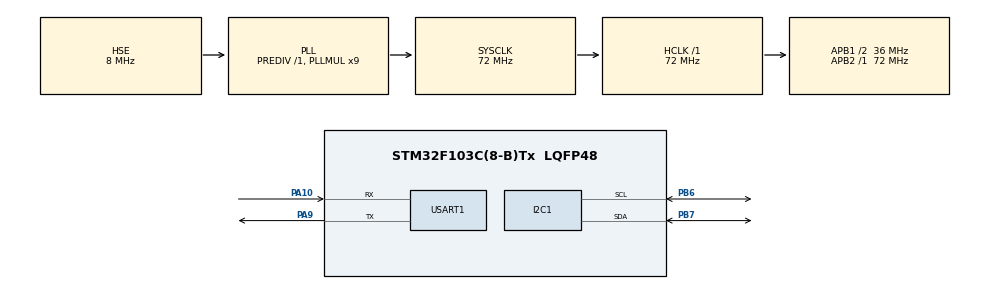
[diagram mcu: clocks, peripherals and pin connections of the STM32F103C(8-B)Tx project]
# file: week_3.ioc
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Mcu.Family=STM32F1
Mcu.Name=STM32F103C(8-B)Tx
Mcu.Package=LQFP48
NVIC.PriorityGroup=NVIC_PRIORITYGROUP_4
NVIC.USART1_IRQn=true\:0\:0\:false\:false\:true\:true\:true\:true
PA10.Mode=Asynchronous
PA10.Signal=USART1_RX
PA13.Mode=Serial_Wire
PA13.Signal=SYS_JTMS-SWDIO
PA14.Mode=Serial_Wire
PA14.Signal=SYS_JTCK-SWCLK
PA9.Mode=Asynchronous
PA9.Signal=USART1_TX
PB6.Mode=I2C
PB6.Signal=I2C1_SCL
PB7.Mode=I2C
PB7.Signal=I2C1_SDA
PD0-OSC_IN.Mode=HSE-External-Oscillator
PD0-OSC_IN.Signal=RCC_OSC_IN
PD1-OSC_OUT.Mode=HSE-External-Oscillator
PD1-OSC_OUT.Signal=RCC_OSC_OUT
ProjectManager.HeapSize=0x200
ProjectManager.StackSize=0x400
ProjectManager.TargetToolchain=Makefile
RCC.AHBFreq_Value=72000000
RCC.APB1CLKDivider=RCC_HCLK_DIV2
RCC.APB1Freq_Value=36000000
RCC.APB1TimFreq_Value=72000000
RCC.APB2Freq_Value=72000000
RCC.APB2TimFreq_Value=72000000
RCC.HCLKFreq_Value=72000000
RCC.PLLMUL=RCC_PLL_MUL9
RCC.PLLSourceVirtual=RCC_PLLSOURCE_HSE
RCC.SYSCLKFreq_VALUE=72000000
RCC.SYSCLKSource=RCC_SYSCLKSOURCE_PLLCLK
RCC.USBFreq_Value=72000000
USART1.VirtualMode=VM_ASYNC
board=custom

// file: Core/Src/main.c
/* USER CODE BEGIN Header */
/**
  ******************************************************************************
  * @file           : main.c
  * @brief          : Main program body
  ******************************************************************************
  * @attention
  *
  * Copyright (c) 2026 STMicroelectronics.
  * All rights reserved.
  *
  * This software is licensed under terms that can be found in the LICENSE file
  * in the root directory of this software component.
  * If no LICENSE file comes with this software, it is provided AS-IS.
  *
  ******************************************************************************
  */
/* USER CODE END Header */
#include "main.h"
#include "i2c.h"
#include "usart.h"
#include "gpio.h"

/* USER CODE BEGIN Includes */
#include "OLED.h"
#include <math.h>
/* USER CODE END Includes */

/* USER CODE BEGIN PV */
typedef enum{
  WAVE_SIN,
  WAVE_SAWTOOTH,
  WAVE_SQUARE
}Wave_Type;
static Wave_Type current_wave=WAVE_SIN;
static volatile uint8_t mod;
static volatile uint8_t pre_command=0;
static uint32_t last_time=0;
static float wave_dot=0.0f;
/* USER CODE END PV */

void SystemClock_Config(void);

/* USER CODE BEGIN 0 */
static float Wave_GetPeriod(void)
{
    switch (current_wave)
    {
        case WAVE_SIN:
            return 1.0f;

        case WAVE_SAWTOOTH:
            return 0.5f;

        case WAVE_SQUARE:
            return 1.5f;

        default:
            return 1.0f;
    }
}
static float Wave_GetValue(void)
{
    switch (current_wave)
    {
        case WAVE_SIN:
            return 2.0f * sinf(6.2831853f * wave_dot);
        case WAVE_SAWTOOTH:
            return -1.0f + 2.0f * wave_dot;
        case WAVE_SQUARE:
            if (wave_dot < 0.5f)
            {
                return 0.5f;
            }
            else
            {
                return -0.5f;
            }

        default:
            return 0.0f;
    }
}

static void OLED_ShowWaveName(void)
{
    OLED_operate_gram(PEN_CLEAR);

    switch (current_wave)
    {
        case WAVE_SIN:
            OLED_printf(0, 0, "Sine");
            OLED_printf(2, 0, "T: 1.0 s");
            OLED_printf(4, 0, "A: 2.0");
            break;

        case WAVE_SAWTOOTH:
            OLED_printf(0, 0, "Sawtooth");
            OLED_printf(2, 0, "T: 0.5 s");
            OLED_printf(4, 0, "A: 1.0");
            break;

        case WAVE_SQUARE:
            OLED_printf(0, 0, "Square");
            OLED_printf(2, 0, "T: 1.5 s");
            OLED_printf(4, 0, "A: 0.5");
            break;

        default:
            break;
    }

    OLED_refresh_gram();
}
static void Wave_Process(void)
{
    uint8_t command;

    if (pre_command == 0)
    {
        return;
    }

    command = pre_command;
    pre_command = 0;

    if (command == '1')
    {
        current_wave = WAVE_SIN;
    }
    else if (command == '2')
    {
        current_wave = WAVE_SAWTOOTH;
    }
    else if (command == '3')
    {
        current_wave = WAVE_SQUARE;
    }
    else
    {
        return;
    }
    wave_dot = 0.0f;

    OLED_ShowWaveName();
}

static void VOFA_SendFloat(float value)
{
    union
    {
        float value;
        uint8_t byte[4];
    } data;

    uint8_t packet[8];

    data.value = value;

    packet[0] = data.byte[0];
    packet[1] = data.byte[1];
    packet[2] = data.byte[2];
    packet[3] = data.byte[3];

    /* JustFloat 帧尾 */
    packet[4] = 0x00;
    packet[5] = 0x00;
    packet[6] = 0x80;
    packet[7] = 0x7F;

    HAL_UART_Transmit(&huart1, packet, 8, 20);
}
/* USER CODE END 0 */

int main(void)
{

  /* MCU Configuration--------------------------------------------------------*/

  /* Reset of all peripherals, Initializes the Flash interface and the Systick. */
  HAL_Init();

  /* Configure the system clock */
  SystemClock_Config();

  /* Initialize all configured peripherals */
  MX_GPIO_Init();
  MX_I2C1_Init();
  MX_USART1_UART_Init();
  /* USER CODE BEGIN 2 */
  OLED_init();
  OLED_ShowWaveName();
HAL_UART_Receive_IT(&huart1,&mod,1);
  /* USER CODE END 2 */

  /* Infinite loop */
  /* USER CODE BEGIN WHILE */
  while (1)
  {
    uint32_t now_time;
    float value;
    float period;
    Wave_Process();
    now_time=HAL_GetTick();
    if ((now_time-last_time)>=10U){
      value=Wave_GetValue();
      last_time=now_time;
    VOFA_SendFloat(value);
    period= Wave_GetPeriod();
    wave_dot += 0.010f / period;
    if (wave_dot >= 1.0f)
      {
      wave_dot -= 1.0f;
      }
    }

    /* USER CODE END WHILE */

  }
}

void SystemClock_Config(void)
{
  RCC_OscInitTypeDef RCC_OscInitStruct = {0};
  RCC_ClkInitTypeDef RCC_ClkInitStruct = {0};

  /** Initializes the RCC Oscillators according to the specified parameters
  * in the RCC_OscInitTypeDef structure.
  */
  RCC_OscInitStruct.OscillatorType = RCC_OSCILLATORTYPE_HSE;
  RCC_OscInitStruct.HSEState = RCC_HSE_ON;
  RCC_OscInitStruct.HSEPredivValue = RCC_HSE_PREDIV_DIV1;
  RCC_OscInitStruct.HSIState = RCC_HSI_ON;
  RCC_OscInitStruct.PLL.PLLState = RCC_PLL_ON;
  RCC_OscInitStruct.PLL.PLLSource = RCC_PLLSOURCE_HSE;
  RCC_OscInitStruct.PLL.PLLMUL = RCC_PLL_MUL9;
  if (HAL_RCC_OscConfig(&RCC_OscInitStruct) != HAL_OK)
  {
    Error_Handler();
  }

  /** Initializes the CPU, AHB and APB buses clocks
  */
  RCC_ClkInitStruct.ClockType = RCC_CLOCKTYPE_HCLK|RCC_CLOCKTYPE_SYSCLK
                              |RCC_CLOCKTYPE_PCLK1|RCC_CLOCKTYPE_PCLK2;
  RCC_ClkInitStruct.SYSCLKSource = RCC_SYSCLKSOURCE_PLLCLK;
  RCC_ClkInitStruct.AHBCLKDivider = RCC_SYSCLK_DIV1;
  RCC_ClkInitStruct.APB1CLKDivider = RCC_HCLK_DIV2;
  RCC_ClkInitStruct.APB2CLKDivider = RCC_HCLK_DIV1;

  if (HAL_RCC_ClockConfig(&RCC_ClkInitStruct, FLASH_LATENCY_2) != HAL_OK)
  {
    Error_Handler();
  }
}

/* USER CODE BEGIN 4 */
  void HAL_UART_RxCpltCallback(UART_HandleTypeDef*huart){
    if (huart->Instance==USART1){
        if ((mod=='1')||(mod=='2')||(mod=='3')){
          pre_command=mod;
        }
    }
    HAL_UART_Receive_IT(&huart1,&mod,1);
  }
/* USER CODE END 4 */

void Error_Handler(void)
{
  __disable_irq();
  while (1)
  {
  }
}
